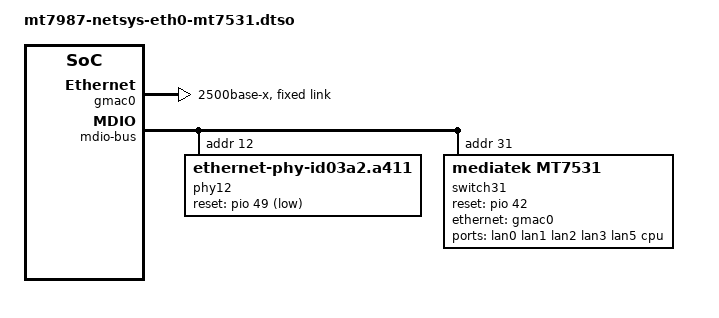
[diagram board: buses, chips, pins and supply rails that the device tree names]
// SPDX-License-Identifier: (GPL-2.0 OR MIT)

/dts-v1/;
/plugin/;

/ {
	fragment@0 {
		target = <&gmac0>;
		__overlay__ {
			phy-mode = "2500base-x";
			status = "okay";
			fixed-link {
				speed = <2500>;
				full-duplex;
				pause;
			};
		};
	};

	fragment@1 {
		target-path = "/soc_netsys/ethernet@15100000/mdio-bus";
		__overlay__ {
			phy12: phy@12 {
				compatible = "ethernet-phy-id03a2.a411";
				reg = <12>;
				reset-gpios = <&pio 49 1>;
				reset-assert-us = <10000>;
				reset-deassert-us = <10000>;
				phy-mode = "2500base-x";
				full-duplex;
				pause;
				airoha,pnswap-rx;
				airoha,phy-handle;
			};

			switch31: switch@31 {
				compatible = "mediatek,mt7531";
				reg = <31>;
				reset-gpios = <&pio 42 0>;
				status = "okay";

				ports {
					#address-cells = <1>;
					#size-cells = <0>;

					port@0 {
						reg = <0>;
						label = "lan0";
					};

					port@1 {
						reg = <1>;
						label = "lan1";
					};

					port@2 {
						reg = <2>;
						label = "lan2";
					};

					port@3 {
						reg = <3>;
						label = "lan3";
					};

					port@5 {
						reg = <5>;
						label = "lan5";
						phy-mode = "2500base-x";
						phy-handle = <&phy12>;
					};

					port@6 {
						reg = <6>;
						label = "cpu";
						ethernet = <&gmac0>;
						phy-mode = "2500base-x";

						fixed-link {
							speed = <2500>;
							full-duplex;
							pause;
						};
					};
				};

			};
		};
	};
};

